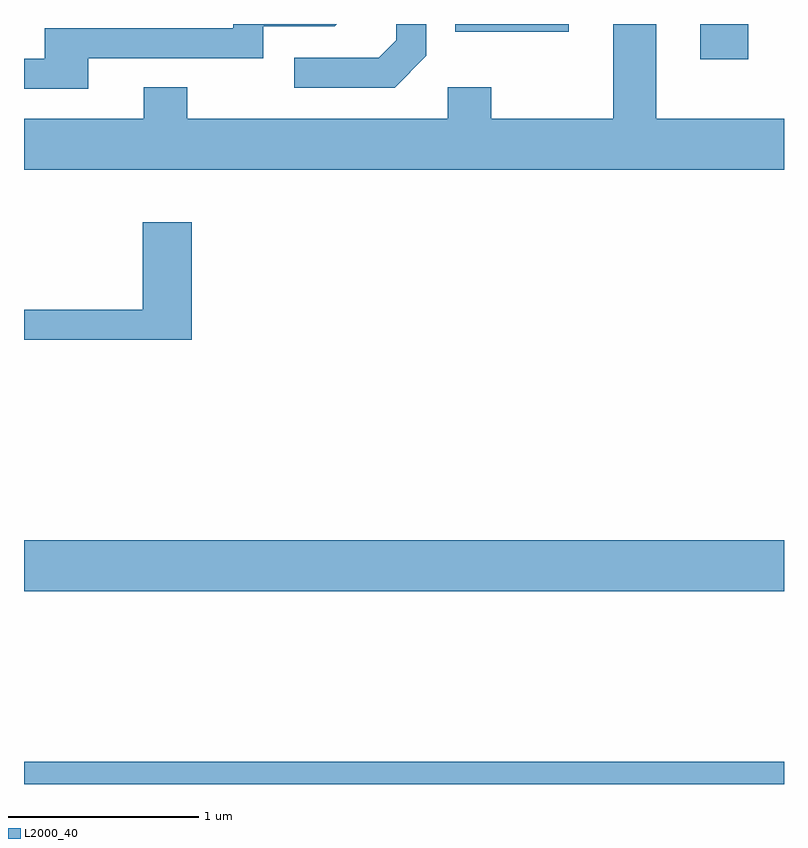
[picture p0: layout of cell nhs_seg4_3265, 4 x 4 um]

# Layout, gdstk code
import gdstk
lib = gdstk.Library(unit=1e-6, precision=1e-09)
def R(c, l, rs):  # rectangles x0, y0, x1, y1
    for r in rs: c.add(gdstk.rectangle(r[:2], r[2:], *l))
def P(c, l, *ps):  # polygons
    for p in ps: c.add(gdstk.Polygon(p, *l))
L2000_40 = (2000, 40)

nhs_seg4_3265 = lib.new_cell('nhs_seg4_3265')
R(nhs_seg4_3265, L2000_40, [(281.611,1255.982,285.611,1256.099), (281.611,1256.996,285.611,1257.264), (285.171,1259.796,285.424,1259.982), (283.881,1259.941,284.479,1259.982)])
P(nhs_seg4_3265, L2000_40, [(285.611,1259.484),(284.939,1259.484),(284.939,1259.982),(284.711,1259.982),(284.711,1259.484),(284.069,1259.484),(284.069,1259.649),(283.841,1259.649),(283.841,1259.484),(282.469,1259.484),(282.469,1259.649),(282.241,1259.649),(282.241,1259.484),(281.611,1259.484),(281.611,1259.216),(285.611,1259.216)],
  [(281.949,1259.801),(282.869,1259.801),(282.869,1259.971),(283.247,1259.971),(283.258,1259.982),(282.711,1259.982),(282.711,1259.959),(281.721,1259.959),(281.721,1259.799),(281.611,1259.799),(281.611,1259.641),(281.949,1259.641)],
  [(283.729,1259.814),(283.729,1259.982),(283.571,1259.982),(283.571,1259.897),(283.479,1259.804),(283.033,1259.804),(283.033,1259.646),(283.562,1259.646)],
  [(282.494,1258.939),(282.236,1258.939),(282.236,1258.479),(281.611,1258.479),(281.611,1258.321),(282.494,1258.321)])

lib.write_gds('nhs_seg4_3265.gds')
